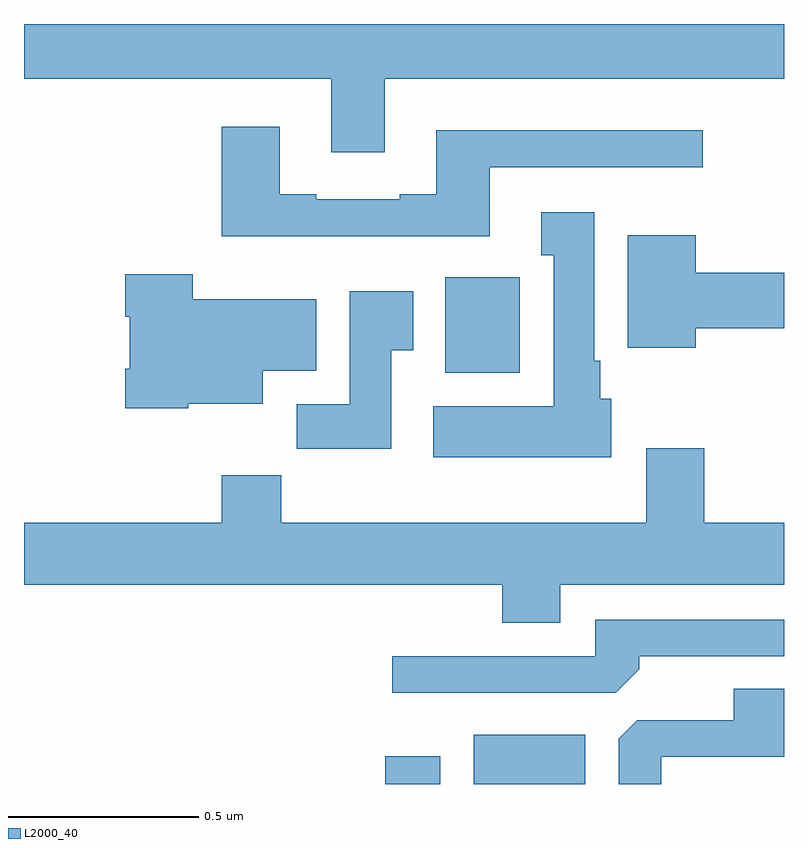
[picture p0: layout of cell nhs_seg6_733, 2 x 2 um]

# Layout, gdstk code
import gdstk
lib = gdstk.Library(unit=1e-6, precision=1e-09)
def R(c, l, rs):  # rectangles x0, y0, x1, y1
    for r in rs: c.add(gdstk.rectangle(r[:2], r[2:], *l))
def P(c, l, *ps):  # polygons
    for p in ps: c.add(gdstk.Polygon(p, *l))
L2000_40 = (2000, 40)

nhs_seg6_733 = lib.new_cell('nhs_seg6_733')
R(nhs_seg6_733, L2000_40, [(120.95,925.5,121.096,925.573), (121.184,925.5,121.477,925.63), (121.109,926.582,121.305,926.833)])
P(nhs_seg6_733, L2000_40, [(120.949,927.356),(122,927.356),(122,927.5),(120,927.5),(120,927.356),(120.809,927.356),(120.809,927.162),(120.949,927.162)],
  [(121.225,927.123),(121.786,927.123),(121.786,927.22),(121.085,927.22),(121.085,927.052),(120.989,927.052),(120.989,927.039),(120.769,927.039),(120.769,927.052),(120.673,927.052),(120.673,927.229),(120.521,927.229),(120.521,926.942),(121.225,926.942)],
  [(121.546,926.514),(121.516,926.514),(121.516,926.614),(121.501,926.614),(121.501,927.004),(121.361,927.004),(121.361,926.891),(121.394,926.891),(121.394,926.494),(121.077,926.494),(121.077,926.36),(121.546,926.36)],
  [(121.768,926.699),(122,926.699),(122,926.846),(121.768,926.846),(121.768,926.944),(121.589,926.944),(121.589,926.648),(121.768,926.648)],
  [(120.432,926.501),(120.628,926.501),(120.628,926.588),(120.769,926.588),(120.769,926.776),(120.444,926.776),(120.444,926.842),(120.266,926.842),(120.266,926.729),(120.278,926.729),(120.278,926.593),(120.266,926.593),(120.266,926.489),(120.432,926.489)],
  [(120.967,926.641),(121.024,926.641),(121.024,926.797),(120.857,926.797),(120.857,926.5),(120.718,926.5),(120.718,926.382),(120.967,926.382)],
  [(121.411,926.024),(122,926.024),(122,926.188),(121.79,926.188),(121.79,926.383),(121.637,926.383),(121.637,926.188),(120.677,926.188),(120.677,926.312),(120.521,926.312),(120.521,926.188),(120,926.188),(120,926.024),(121.259,926.024),(121.259,925.925),(121.411,925.925)],
  [(121.619,925.802),(121.619,925.836),(122,925.836),(122,925.932),(121.503,925.932),(121.503,925.836),(120.969,925.836),(120.969,925.74),(121.557,925.74)],
  [(121.677,925.572),(122,925.572),(122,925.751),(121.868,925.751),(121.868,925.668),(121.614,925.668),(121.565,925.619),(121.565,925.5),(121.677,925.5)])

lib.write_gds('nhs_seg6_733.gds')
